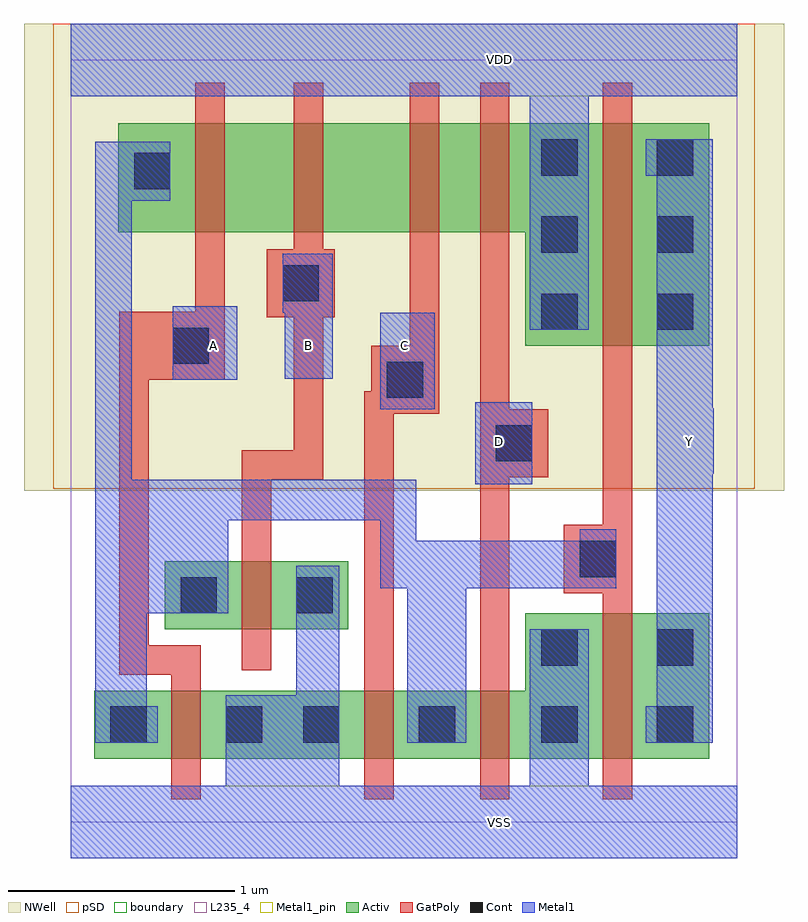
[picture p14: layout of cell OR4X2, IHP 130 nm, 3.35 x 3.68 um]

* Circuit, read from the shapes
.subckt OR4X2 A B C D VDD VSS Y
XM1 VSS A n1 VSUBS sg13_lv_nmos w=0.3u l=0.13u
XM2 VSS B n1 VSUBS sg13_lv_nmos w=0.3u l=0.13u
XM3 n1 C VSS VSUBS sg13_lv_nmos w=0.3u l=0.13u
XM4 VSS D n1 VSUBS sg13_lv_nmos w=0.3u l=0.13u
XM5 Y n1 VSS VSUBS sg13_lv_nmos w=0.64u l=0.13u
XM6 n2 A n1 n3 sg13_lv_pmos w=0.48u l=0.13u
XM7 n4 B n2 n3 sg13_lv_pmos w=0.48u l=0.13u
XM8 n5 C n4 n3 sg13_lv_pmos w=0.48u l=0.13u
XM9 VDD D n5 n3 sg13_lv_pmos w=0.48u l=0.13u
XM10 Y n1 VDD n3 sg13_lv_pmos w=0.98u l=0.13u
.ends

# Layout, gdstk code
import gdstk
lib = gdstk.Library(unit=1e-6, precision=1e-09)
def R(c, l, rs):  # rectangles x0, y0, x1, y1
    for r in rs: c.add(gdstk.rectangle(r[:2], r[2:], *l))
def A(c, l, x, y, w, h, nx, ny, dx, dy):  # array of equal rectangles
    R(c, l, [(x+i*dx, y+j*dy, x+i*dx+w, y+j*dy+h) for i in range(nx) for j in range(ny)])
def P(c, l, *ps):  # polygons
    for p in ps: c.add(gdstk.Polygon(p, *l))
Activ = (1, 0)
GatPoly = (5, 0)
Cont = (6, 0)
Metal1 = (8, 0)
Metal1_pin = (8, 2)
pSD = (14, 0)
NWell = (31, 0)
boundary = (189, 4)
L235_4 = (235, 4)

or4x2 = lib.new_cell('OR4X2')
R(or4x2, Activ, [(0.415,0.85,1.225,1.15)])
P(or4x2, Activ, [(0.105,0.28),(0.105,0.58),(2.005,0.58),(2.005,0.92),(2.815,0.92),(2.815,0.28)],
  [(2.005,2.1),(2.005,2.6),(0.21,2.6),(0.21,3.08),(2.815,3.08),(2.815,2.1)])
P(or4x2, GatPoly, [(1.295,0.1),(1.295,1.9),(1.325,1.9),(1.325,2.1),(1.495,2.1),(1.495,3.26),(1.625,3.26),(1.625,1.8),(1.425,1.8),(1.425,0.1)],
  [(0.755,0.67),(0.755,1.64),(0.985,1.64),(0.985,2.225),(0.865,2.225),(0.865,2.525),(0.985,2.525),(0.985,3.26),(1.115,3.26),(1.115,2.525),(1.165,2.525),(1.165,2.225),(1.115,2.225),(1.115,1.51),(0.885,1.51),(0.885,0.67)],
  [(0.445,0.1),(0.445,0.65),(0.215,0.65),(0.215,2.25),(0.55,2.25),(0.55,3.26),(0.68,3.26),(0.68,1.95),(0.345,1.95),(0.345,0.78),(0.575,0.78),(0.575,0.1)],
  [(1.805,0.1),(1.805,3.26),(1.935,3.26),(1.935,1.82),(2.105,1.82),(2.105,1.52),(1.935,1.52),(1.935,0.1)],
  [(2.345,0.1),(2.345,1.01),(2.175,1.01),(2.175,1.31),(2.345,1.31),(2.345,3.26),(2.475,3.26),(2.475,0.1)])
A(or4x2, Cont, 2.075, 2.17, 0.16, 0.16, 1, 3, 0, 0.34)
A(or4x2, Cont, 2.585, 2.17, 0.16, 0.16, 1, 3, 0, 0.34)
R(or4x2, Cont, [(0.175,0.35,0.335,0.51), (0.685,0.35,0.845,0.51), (1.025,0.35,1.185,0.51), (1.535,0.35,1.695,0.51), (2.075,0.35,2.235,0.51), (2.585,0.35,2.745,0.51), (2.075,0.69,2.235,0.85), (2.585,0.69,2.745,0.85), (0.485,0.92,0.645,1.08), (0.995,0.92,1.155,1.08), (2.245,1.08,2.405,1.24), (1.875,1.59,2.035,1.75), (1.395,1.87,1.555,2.03), (0.45,2.02,0.61,2.18), (0.935,2.295,1.095,2.455), (0.28,2.79,0.44,2.95)])
R(or4x2, Metal1, [(1.785,1.49,2.035,1.85), (1.365,1.82,1.605,2.245), (0.45,1.95,0.735,2.275)])
P(or4x2, Metal1, [(2.535,0.35),(2.535,0.51),(2.585,0.51),(2.585,2.85),(2.535,2.85),(2.535,3.01),(2.83,3.01),(2.83,1.825),(2.835,1.825),(2.835,1.535),(2.83,1.535),(2.83,0.35)],
  [(0,-0.16),(0,0.16),(0.685,0.16),(0.685,0.56),(0.995,0.56),(0.995,1.13),(1.185,1.13),(1.185,0.16),(2.025,0.16),(2.025,0.85),(2.285,0.85),(2.285,0.16),(2.94,0.16),(2.94,-0.16)],
  [(2.025,2.17),(2.025,3.2),(0,3.2),(0,3.52),(2.94,3.52),(2.94,3.2),(2.285,3.2),(2.285,2.17)],
  [(0.945,1.955),(0.945,2.245),(0.935,2.245),(0.935,2.505),(1.155,2.505),(1.155,1.955)],
  [(0.11,0.35),(0.11,3),(0.44,3),(0.44,2.74),(0.27,2.74),(0.27,1.51),(1.525,1.51),(1.525,1.24),(2.245,1.24),(2.245,1.29),(2.405,1.29),(2.405,1.03),(1.745,1.03),(1.745,0.35),(1.485,0.35),(1.485,1.03),(1.365,1.03),(1.365,1.33),(0.695,1.33),(0.695,0.92),(0.335,0.92),(0.335,0.51),(0.385,0.51),(0.385,0.35)])
R(or4x2, Metal1_pin, [(0,-0.16,2.94,0.16), (1.785,1.49,2.035,1.85), (1.785,1.49,2.035,1.85), (2.585,1.535,2.835,1.825), (1.365,1.82,1.605,2.245), (1.365,1.82,1.605,2.245), (0.45,1.95,0.735,2.275), (0.45,1.95,0.735,2.275), (0.945,1.955,1.155,2.505), (0,3.2,2.94,3.52)])
P(or4x2, Metal1_pin, [(2.535,0.35),(2.535,0.51),(2.585,0.51),(2.585,2.85),(2.535,2.85),(2.535,3.01),(2.83,3.01),(2.83,1.825),(2.835,1.825),(2.835,1.535),(2.83,1.535),(2.83,0.35)],
  [(0.945,1.955),(0.945,2.245),(0.935,2.245),(0.935,2.505),(1.155,2.505),(1.155,1.955)])
R(or4x2, pSD, [(-0.075,1.47,3.015,3.52)])
R(or4x2, NWell, [(-0.205,1.46,3.145,3.52)])
R(or4x2, boundary, [(0,0,2.94,3.36)])
R(or4x2, L235_4, [(0,0,2.94,3.36)])
or4x2.add(gdstk.Label('VSS', (1.89,0), layer=8, texttype=25))
or4x2.add(gdstk.Label('VDD', (1.89,3.36), layer=8, texttype=25))
or4x2.add(gdstk.Label('C', (1.47,2.1), layer=8, texttype=25))
or4x2.add(gdstk.Label('Y', (2.73,1.68), layer=8, texttype=25))
or4x2.add(gdstk.Label('D', (1.89,1.68), layer=8, texttype=25))
or4x2.add(gdstk.Label('B', (1.05,2.1), layer=8, texttype=25))
or4x2.add(gdstk.Label('A', (0.63,2.1), layer=8, texttype=25))

lib.write_gds('OR4X2.gds')
